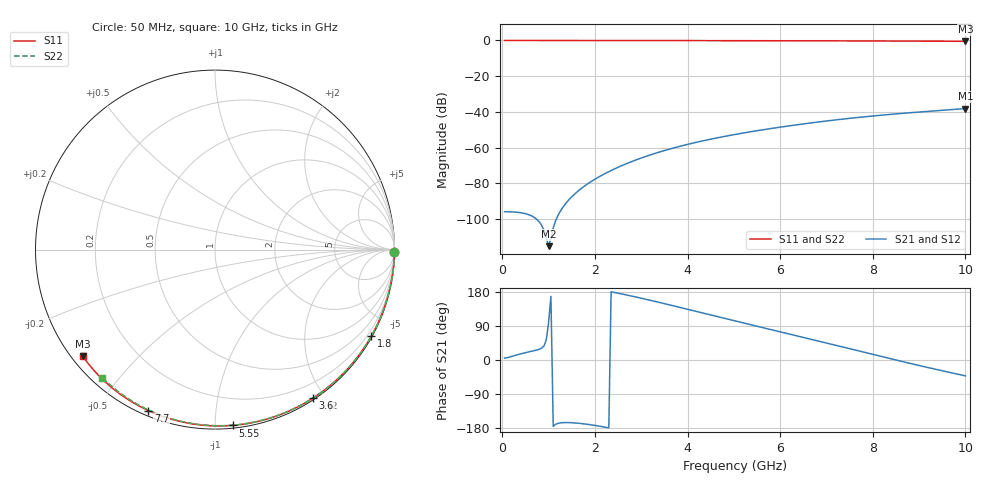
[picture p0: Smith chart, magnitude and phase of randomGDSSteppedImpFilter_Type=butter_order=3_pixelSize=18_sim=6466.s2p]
! freq	dB(S11)	phase(S11)	dB(S12)	phase(S12)
!  dB(S21)	phase(S21)	dB(S22)	phase(S22)
!S-par simulation data
#  GHz  S  DB  R 50
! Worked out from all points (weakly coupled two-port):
!   200 points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, 50 MHz to 10 GHz, reference 50 ohm
!   highest |S21| = -38.13 dB at 10 GHz (marker M1); lowest = -115.2 dB at 1 GHz (marker M2)
!   lowest |S11| = -0.5 dB at 10 GHz (marker M3), VSWR 36.48, Z = 1.54 - j17.7 ohm
!   |S11| at or under -10 dB: nowhere
!   |S22| runs from -0.4 to 0.0 dB; largest |S21 - S12| = 0
!   S11 on the Smith chart (normalised r, x): 50 MHz: open; 1.8 GHz: 0.03, -3.87; 3.6 GHz: 0.02, -1.86; 5.55 GHz: 0.02, -1.10; 7.7 GHz: 0.02, -0.67; 10 GHz: 0.03, -0.35
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0.05  -0.00 -0.8  -95.90 5.2  -95.90 5.2  -0.00 -0.8
0.5  -0.01 -8.2  -96.99 19.3  -96.99 19.3  -0.01 -7.6
1  -0.02 -16.2  -115.18 98.9  -115.18 98.9  -0.02 -15.1
1.75  -0.04 -28.2  -82.00 -168.4  -82.00 -168.4  -0.03 -26.2
1.8  -0.04 -29.0  -81.06 -169.1  -81.06 -169.1  -0.03 -26.9
1.85  -0.04 -29.7  -80.17 -169.9  -80.17 -169.9  -0.04 -27.6
2.05  -0.04 -32.9  -76.92 -173.6  -76.92 -173.6  -0.04 -30.6
2.25  -0.05 -36.0  -74.11 -177.8  -74.11 -177.8  -0.04 -33.5
2.65  -0.05 -42.2  -69.31 172.5  -69.31 172.5  -0.05 -39.2
3  -0.06 -47.5  -65.82 163.1  -65.82 163.1  -0.06 -44.2
3.4  -0.07 -53.5  -62.41 151.7  -62.41 151.7  -0.07 -49.8
3.6  -0.08 -56.5  -60.90 145.8  -60.90 145.8  -0.07 -52.6
3.9  -0.08 -60.9  -58.83 136.9  -58.83 136.9  -0.08 -56.8
4.3  -0.09 -66.7  -56.38 124.8  -56.38 124.8  -0.09 -62.2
5.05  -0.12 -77.4  -52.52 102.4  -52.52 102.4  -0.11 -72.1
5.55  -0.14 -84.3  -50.33 87.7  -50.33 87.7  -0.13 -78.6
6.1  -0.16 -91.7  -48.17 71.5  -48.17 71.5  -0.15 -85.6
6.7  -0.19 -99.6  -46.06 53.8  -46.06 53.8  -0.18 -93.0
7.7  -0.26 -112.5  -43.06 23.9  -43.06 23.9  -0.24 -105.0
8.35  -0.31 -120.6  -41.46 4.4  -41.46 4.4  -0.29 -112.5
9.2  -0.39 -131.1  -39.69 -20.2  -39.69 -20.2  -0.36 -122.3
10  -0.48 -141.1  -38.13 -41.9  -38.13 -41.9  -0.45 -131.3
